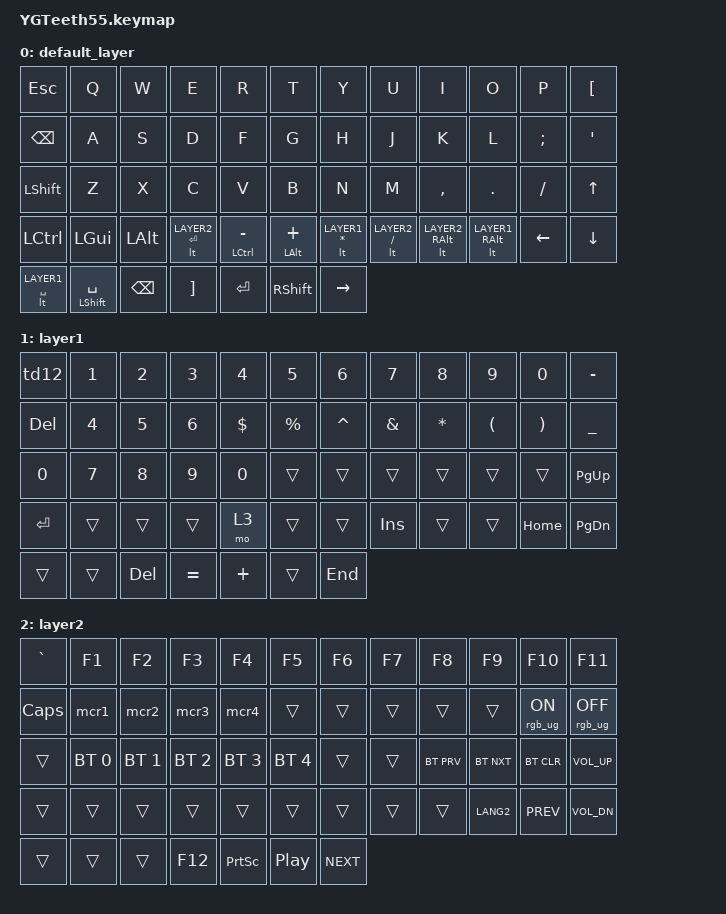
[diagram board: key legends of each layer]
/*
 * Copyright (c) 2020 The ZMK Contributors
 *
 * SPDX-License-Identifier: MIT
pin matrix changed
 */

#include <behaviors.dtsi>
#include <dt-bindings/zmk/keys.h>
#include <dt-bindings/zmk/bt.h>
#include <dt-bindings/zmk/rgb.h>

#define DEFAULT_LAYER  0
#define LAYER1 1
#define LAYER2 2

/ {

behaviors {
    lt: layer_tap {
        compatible = "zmk,behavior-hold-tap";
        quick-tap-ms = <180>;
        flavor = "balanced";
        };
};


behaviors {
        ht: hold_tap {
            compatible = "zmk,behavior-hold-tap";
            #binding-cells = <2>;
            tapping-term-ms = <200>;
            quick-tap-ms = <180>;
            require-prior-idle-ms = <150>;
            flavor = "balanced";
            bindings = <&kp>, <&kp>;
        };
    };

 behaviors {
        bhm: balanced_homerow_mods {
            compatible = "zmk,behavior-hold-tap";
            #binding-cells = <2>;
            tapping-term-ms = <200>;
            quick-tap-ms = <180>;
            flavor = "balanced";
            bindings = <&kp>, <&kp>;
        };
    };

behaviors {
        td0: tap_dance_0 {
            compatible = "zmk,behavior-tap-dance";
            #binding-cells = <0>;
            tapping-term-ms = <230>;
            bindings = <&kp Q>, <&kp N1>, <&kp EXCL>;
            };
       };

behaviors {
        td1: tap_dance_1 {
            compatible = "zmk,behavior-tap-dance";
            #binding-cells = <0>;
            tapping-term-ms = <230>;
            bindings = <&kp W>, <&kp N2>, <&kp AT>;
            };
       };

behaviors {
        td2: tap_dance_2 {
            compatible = "zmk,behavior-tap-dance";
            #binding-cells = <0>;
            tapping-term-ms = <230>;
            bindings = <&kp E>, <&kp N3>, <&kp HASH>;
            };
       };

behaviors {
        td3: tap_dance_3 {
            compatible = "zmk,behavior-tap-dance";
            #binding-cells = <0>;
            tapping-term-ms = <230>;
            bindings = <&kp R>, <&kp N4>, <&kp DLLR>;
            };
       };

behaviors {
        td4: tap_dance_4 {
            compatible = "zmk,behavior-tap-dance";
            #binding-cells = <0>;
            tapping-term-ms = <230>;
            bindings = <&kp T>, <&kp N5>, <&kp PRCNT>;
            };
       };

behaviors {
        td5: tap_dance_5 {
            compatible = "zmk,behavior-tap-dance";
            #binding-cells = <0>;
            tapping-term-ms = <230>;
            bindings = <&kp Y>, <&kp N6>, <&kp CARET>;
            };
       };

behaviors {
        td6: tap_dance_6 {
            compatible = "zmk,behavior-tap-dance";
            #binding-cells = <0>;
            tapping-term-ms = <230>;
            bindings = <&kp U>, <&kp N7>, <&kp AMPS>;
            };
       };

behaviors {
        td7: tap_dance_7 {
            compatible = "zmk,behavior-tap-dance";
            #binding-cells = <0>;
            tapping-term-ms = <230>;
            bindings = <&kp I>, <&kp N8>, <&kp STAR>;
            };
       };

behaviors {
        td8: tap_dance_8 {
            compatible = "zmk,behavior-tap-dance";
            #binding-cells = <0>;
            tapping-term-ms = <230>;
            bindings = <&kp O>, <&kp N9>, <&kp LPAR>;
            };
       };

behaviors {
        td9: tap_dance_9 {
            compatible = "zmk,behavior-tap-dance";
            #binding-cells = <0>;
            tapping-term-ms = <230>;
            bindings = <&kp P>, <&kp N0>, <&kp RPAR>;
            };
       };

behaviors {
        td10: tap_dance_10 {
            compatible = "zmk,behavior-tap-dance";
            #binding-cells = <0>;
            tapping-term-ms = <230>;
            bindings = <&kp LBKT>, <&kp MINUS>, <&kp UNDER>;
            };
       };
behaviors {
        td11: tap_dance_11 {
            compatible = "zmk,behavior-tap-dance";
            #binding-cells = <0>;
            tapping-term-ms = <230>;
            bindings = <&kp RBKT>, <&kp EQUAL>, <&kp PLUS>;
            };
       };

behaviors {
        td12: tap_dance_12 {
            compatible = "zmk,behavior-tap-dance";
            #binding-cells = <0>;
            tapping-term-ms = <230>;
            bindings = <&kp ESC>, <&kp TILDE>, <&kp GRAVE>;
            };
       };

combos
{
        compatible = "zmk,combos";
        combo_tab {
            timeout-ms = <50>;
            key-positions = <0 12>;
            bindings = <&kp TAB>;
            };

         combo_tilde {
            timeout-ms = <50>;
            key-positions = <0 1>;
            bindings = <&kp TILDE>;
            };

        combo_1 {
            timeout-ms = <50>;
            key-positions = <1 13>;
            bindings = <&kp N1>;
            };

        combo_2 {
            timeout-ms = <50>;
            key-positions = <2 14>;
            bindings = <&kp N2>;
            };

        combo_3 {
            timeout-ms = <50>;
            key-positions = <3 15>;
            bindings = <&kp N3>;
            };

        combo_4 {
            timeout-ms = <50>;
            key-positions = <4 16>;
            bindings = <&kp N4>;
            };

        combo_5 {
            timeout-ms = <50>;
            key-positions = <5 17>;
            bindings = <&kp N5>;
            };

        combo_6 {
            timeout-ms = <50>;
            key-positions = <6 18>;
            bindings = <&kp N6>;
            };

        combo_7 {
            timeout-ms = <50>;
            key-positions = <7 19>;
            bindings = <&kp N7>;
            };

        combo_8 {
            timeout-ms = <50>;
            key-positions = <8 20>;
            bindings = <&kp N8>;
            };

        combo_9 {
            timeout-ms = <50>;
            key-positions = <9 21>;
            bindings = <&kp N9>;
            };

        combo_10 {
            timeout-ms = <50>;
            key-positions = <10 22>;
            bindings = <&kp N0>;
            };

         combo_11 {
            timeout-ms = <50>;
            key-positions = <11 23>;
            bindings = <&kp MINUS>;
            };

        combo_12 {
            timeout-ms = <50>;
            key-positions = <51 52>;
            bindings = <&kp EQUAL>;
            };

        combo_exc {
            timeout-ms = <50>;
            key-positions = <13 25>;
            bindings = <&kp EXCL>;
            };

        combo_at {
            timeout-ms = <50>;
            key-positions = <14 26>;
            bindings = <&kp AT>;
            };

       combo_hash {
            timeout-ms = <50>;
            key-positions = <15 27>;
            bindings = <&kp HASH>;
            };

        combo_dllr {
            timeout-ms = <50>;
            key-positions = <16 28>;
            bindings = <&kp DLLR>;
            };

        combo_prcnt {
            timeout-ms = <50>;
            key-positions = <17 29>;
            bindings = <&kp PRCNT>;
            };

        combo_caret {
            timeout-ms = <50>;
            key-positions = <18 30>;
            bindings = <&kp CARET>;
            };

        combo_amps {
            timeout-ms = <50>;
            key-positions = <19 31>;
            bindings = <&kp AMPS>;
            };

        combo_star {
            timeout-ms = <50>;
            key-positions = <20 32>;
            bindings = <&kp STAR>;
            };

        combo_lpar {
            timeout-ms = <50>;
            key-positions = <21 33>;
            bindings = <&kp LPAR>;
            };

        combo_rpar {
            timeout-ms = <50>;
            key-positions = <22 34>;
            bindings = <&kp RPAR>;
            };

        combo_minus {
            timeout-ms = <50>;
            key-positions = <23 35>;
            bindings = <&kp UNDER>;
            };

        combo_equal {
            timeout-ms = <50>;
            key-positions = <52 53>;
            bindings = <&kp PLUS>;
            };
};

macros 
{
      mcr1: mcr1
      {
            compatible = "zmk,behavior-macro";
            #binding-cells = <0>;
            bindings = <&macro_tap &kp H &kp E &kp L &kp L &kp O &kp N2 &kp K &kp U &kp N>;
      };

      mcr2: mcr2 
      {
            compatible = "zmk,behavior-macro";
            #binding-cells = <0>;
            bindings = <&macro_tap &kp B &kp A &kp B &kp O &kp N0 &kp N9 &kp N7 &kp N9>
                     , <&macro_press &kp LSHFT>
                     , <&macro_tap &kp N1 &kp N2>
                     , <&macro_release &kp LSHFT>;
      };

      mcr3: mcr3
      {
            compatible = "zmk,behavior-macro";
            #binding-cells = <0>;
            bindings
                = <&macro_tap &kp R &kp M &kp S &kp N0 &kp N9 &kp N7 &kp N9>
                , <&macro_press &kp LSHFT>
                , <&macro_tap &kp N1 &kp N2>
                , <&macro_release &kp LSHFT>;
      };

      mcr4: mcr4
      {
            compatible = "zmk,behavior-macro";
            #binding-cells = <0>;
            bindings
                = <&macro_press &kp LSHFT>,
                <&macro_tap &kp N2>,
                <&macro_release &kp LSHFT>,

                <&macro_tap &kp LBKT>,

                <&macro_press &kp LSHFT>,
                <&macro_tap &kp T &kp A &kp SEMI>,
                <&macro_release &kp LSHFT>,

                <&macro_tap &kp RALT &kp Q &kp K &kp R &kp D &kp L &kp R &kp M &kp S &kp RBKT &kp SPACE>;
      };
};

    keymap {
        compatible = "zmk,keymap";

        default_layer {
            bindings = <
//C0             C1               C2         C3              C4               C5              C6                C7         C8               C9               C10        C11              
//&gresc         &td0           &td1         &td2            &td3             &td4            &td5              &td6       &td7             &td8             &td9       &td10   
&kp ESC          &kp Q            &kp W      &kp E           &kp R            &kp T           &kp Y             &kp U      &kp I            &kp O            &kp P      &kp LBKT    
&kp BSPC         &kp A            &kp S      &kp D           &kp F            &kp G           &kp H             &kp J      &kp K            &kp L            &kp SEMI   &kp APOS   
&kp LSHFT        &kp Z            &kp X      &kp C           &kp V            &kp B           &kp N             &kp M      &kp COMMA        &kp DOT          &kp FSLH   &kp UP     
&kp LCTRL        &kp LGUI         &kp LALT   &lt LAYER2 RET  &bhm LCTRL MINUS &bhm LALT PLUS  &lt LAYER1 STAR   &lt LAYER2 FSLH &lt LAYER2 RALT  &lt LAYER1 RALT  &kp LEFT   &kp DOWN   
&lt LAYER1 SPACE &ht LSHIFT SPACE &kp BSPC   &kp RBKT        &kp RET          &kp RSHFT       &kp RIGHT
            >;
        };

        layer1 {
            bindings = <
//C0        C1        C2        C3        C4        C5        C6        C7        C8         C9        C10        C11          
&td12       &kp N1    &kp N2    &kp N3    &kp N4    &kp N5    &kp N6    &kp N7    &kp N8     &kp N9    &kp N0     &kp MINUS 
&kp DEL     &kp N4    &kp N5    &kp N6    &kp DLLR  &kp PRCNT &kp CARET &kp AMPS  &kp STAR   &kp LPAR  &kp RPAR  &kp UNDER
&kp N0      &kp N7    &kp N8    &kp N9    &kp N0    &trans    &trans    &trans    &trans     &trans    &trans     &kp PG_UP    
&kp RET     &trans    &trans    &trans    &mo 3     &trans    &trans    &kp INS   &trans     &trans    &kp HOME   &kp PG_DN    
&trans      &trans    &kp DEL   &kp EQUAL &kp PLUS  &trans    &kp END
            >;
        };

        layer2 {
            bindings = <
//C0      C1           C2           C3           C4           C5           C6        C7        C8         C9         C10              C11              
&kp GRAVE &kp F1       &kp F2       &kp F3       &kp F4       &kp F5       &kp F6    &kp F7    &kp F8     &kp F9     &kp F10          &kp F11     
&kp CAPS  &mcr1        &mcr2        &mcr3        &mcr4        &trans        &trans     &trans     &trans      &trans      &rgb_ug RGB_ON   &rgb_ug RGB_OFF      
&trans    &bt BT_SEL 0 &bt BT_SEL 1 &bt BT_SEL 2 &bt BT_SEL 3 &bt BT_SEL 4 &trans    &trans    &bt BT_PRV &bt BT_NXT &bt BT_CLR       &kp C_VOL_UP 
&trans    &trans       &trans       &trans       &trans       &trans       &trans    &trans    &trans     &kp LANG2  &kp C_PREV       &kp C_VOL_DN 
&trans    &trans       &trans       &kp F12      &kp PSCRN    &kp C_PP     &kp C_NEXT
            >;
        };
    }; 
}; 
